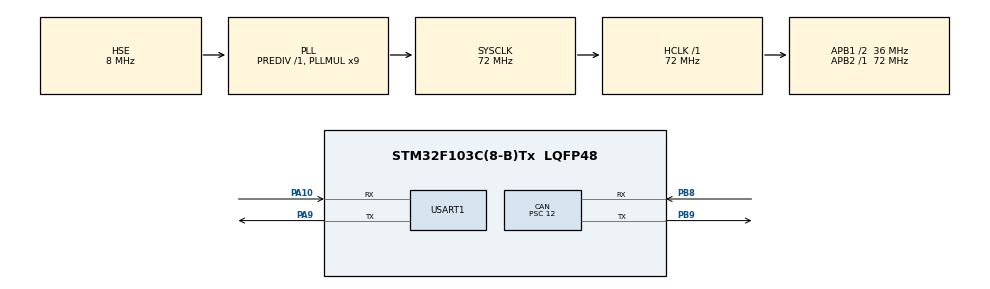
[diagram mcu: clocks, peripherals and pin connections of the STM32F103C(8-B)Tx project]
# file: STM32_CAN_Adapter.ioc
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CAN.BS1=CAN_BS1_2TQ
CAN.BS2=CAN_BS2_3TQ
CAN.CalculateTimeBit=2000
CAN.CalculateTimeQuantum=333.33333333333337
CAN.Prescaler=12
Mcu.Family=STM32F1
Mcu.Name=STM32F103C(8-B)Tx
Mcu.Package=LQFP48
NVIC.PriorityGroup=NVIC_PRIORITYGROUP_4
NVIC.USART1_IRQn=true\:0\:0\:false\:false\:true\:true\:false\:false
PA10.Mode=Asynchronous
PA10.Signal=USART1_RX
PA13.Mode=Serial_Wire
PA13.Signal=SYS_JTMS-SWDIO
PA14.Mode=Serial_Wire
PA14.Signal=SYS_JTCK-SWCLK
PA9.Mode=Asynchronous
PA9.Signal=USART1_TX
PB8.Mode=Master
PB8.Signal=CAN_RX
PB9.Mode=Master
PB9.Signal=CAN_TX
PD0-OSC_IN.Mode=HSE-External-Oscillator
PD0-OSC_IN.Signal=RCC_OSC_IN
PD1-OSC_OUT.Mode=HSE-External-Oscillator
PD1-OSC_OUT.Signal=RCC_OSC_OUT
ProjectManager.HeapSize=0x200
ProjectManager.StackSize=0x400
ProjectManager.TargetToolchain=STM32CubeIDE
RCC.ADCPRE=RCC_ADCPRE_PCLK2_DIV6
RCC.ADCPRE_Value=12
RCC.AHBFreq_Value=72000000
RCC.APB1CLKDivider=RCC_HCLK_DIV2
RCC.APB1Freq_Value=36000000
RCC.APB1TimFreq_Value=72000000
RCC.APB2CLKDivider=RCC_HCLK_DIV1
RCC.APB2Freq_Value=72000000
RCC.APB2TimFreq_Value=72000000
RCC.HCLKFreq_Value=72000000
RCC.PLLMUL=RCC_PLL_MUL9
RCC.PLLMUL_Value=72000000
RCC.PLLSourceVirtual=RCC_PLLSOURCE_HSE
RCC.SYSCLKFreq_VALUE=72000000
RCC.SYSCLKSource=RCC_SYSCLKSOURCE_PLLCLK
RCC.USBFreq_Value=72000000
USART1.VirtualMode=VM_ASYNC
USART1.VirtualMode-Asynchronous=VM_ASYNCHRONOUS
board=custom

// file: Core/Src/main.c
/* USER CODE BEGIN Header */
/**
  ******************************************************************************
  * @file           : main.c
  * @brief          : STM32_CAN_Adapter – CAN ↔ UART1 bidirectional bridge
  *
  * CAN → UART1 : Every received CAN frame is printed as:
  *                 "RX ID:0x<ID> DLC:<N> DATA:<HEX>\r\n"
  *
  * UART1 → CAN : Commands received as ASCII lines:
  *                 "TX:0x<ID>:<DLC>:<HEX_DATA>\r\n"
  *               are parsed and transmitted on the CAN bus.
  *
  * Hardware (BluePill STM32F103C8Tx):
  *   PA9  – USART1 TX   PA10 – USART1 RX
  *   PB8  – CAN RX      PB9  – CAN TX   (remap 2)
  *   PB0  – LED RX (blink on CAN recv)  PB1 – LED TX (blink on CAN send)
  *   PD0  – HSE IN      PD1  – HSE OUT
  *   PA13 – SWD IO      PA14 – SWD CLK
  *
  * CAN:  500 kbps  (APB1=36MHz, Prescaler=12, BS1=2TQ, BS2=3TQ, SJW=1TQ)
  * UART: 115200 8N1
  ******************************************************************************
  */
/* USER CODE END Header */
#include "main.h"

/* USER CODE BEGIN Includes */
#include <stdio.h>
#include <string.h>
#include <stdarg.h>
/* USER CODE END Includes */

/* USER CODE BEGIN PD */
#define UART_TX_BUF_SIZE   128
#define CMD_BUF_SIZE        64
/* USER CODE END PD */

CAN_HandleTypeDef hcan;

UART_HandleTypeDef huart1;

/* USER CODE BEGIN PV */

/* ---- CAN RX ---- */
static CAN_RxHeaderTypeDef RxHeader;
static uint8_t             RxData[8];

/* ---- CAN TX ---- */
static CAN_TxHeaderTypeDef TxHeader;
static uint8_t             TxData[8];
static uint32_t            TxMailbox;

/* ---- CAN filter (accept all) ---- */
static CAN_FilterTypeDef   CanFilter;

/* ---- UART RX (interrupt-driven, byte-by-byte) ---- */
static uint8_t  uart_rx_byte;
static char     cmd_buf[CMD_BUF_SIZE];
static uint8_t  cmd_idx = 0;

/* ---- LED blink (tick-based, ISR-safe) ---- */
#define LED_RX_PIN   GPIO_PIN_0   /* PB0 – blinks on CAN RX */
#define LED_TX_PIN   GPIO_PIN_1   /* PB1 – blinks on CAN TX */
#define LED_PORT     GPIOB
#define LED_BLINK_MS 15           /* blink duration in milliseconds */

static volatile uint32_t led_rx_off_tick = 0; /* tick when PB0 should turn off */
static volatile uint32_t led_tx_off_tick = 0; /* tick when PB1 should turn off */

/* USER CODE END PV */

void SystemClock_Config(void);
static void MX_GPIO_Init(void);
static void MX_USART1_UART_Init(void);
static void MX_CAN_Init(void);
/* USER CODE BEGIN PFP */
static void UART_Printf(const char *fmt, ...);
static void CAN_ConfigFilter(void);
static void Process_Command(char *cmd);
/* USER CODE END PFP */

/* USER CODE BEGIN 0 */

/**
 * @brief  Printf over UART1 (blocking, for small strings).
 */
static void UART_Printf(const char *fmt, ...)
{
    va_list args;
    va_start(args, fmt);
    char buf[UART_TX_BUF_SIZE];
    int len = vsnprintf(buf, sizeof(buf), fmt, args);
    va_end(args);
    if (len > 0)
    {
        HAL_UART_Transmit(&huart1, (uint8_t *)buf, (uint16_t)len, HAL_MAX_DELAY);
    }
}

/**
 * @brief  Configure CAN filter to accept all frames into FIFO0.
 */
static void CAN_ConfigFilter(void)
{
    CanFilter.FilterBank           = 0;
    CanFilter.FilterMode           = CAN_FILTERMODE_IDMASK;
    CanFilter.FilterScale          = CAN_FILTERSCALE_32BIT;
    CanFilter.FilterIdHigh         = 0x0000;
    CanFilter.FilterIdLow          = 0x0000;
    CanFilter.FilterMaskIdHigh     = 0x0000;
    CanFilter.FilterMaskIdLow      = 0x0000;
    CanFilter.FilterFIFOAssignment = CAN_RX_FIFO0;
    CanFilter.FilterActivation     = ENABLE;
    CanFilter.SlaveStartFilterBank = 14;

    if (HAL_CAN_ConfigFilter(&hcan, &CanFilter) != HAL_OK)
    {
        Error_Handler();
    }
}

/**
 * @brief  CAN RX FIFO0 message pending callback.
 *         Called from USB_LP_CAN1_RX0_IRQHandler via HAL.
 *         Forwards each received frame to UART1 as ASCII.
 *
 * Output format:
 *   "RX ID:0x123 DLC:8 DATA:0102030405060708\r\n"
 */
void HAL_CAN_RxFifo0MsgPendingCallback(CAN_HandleTypeDef *hcan_p)
{
    if (HAL_CAN_GetRxMessage(hcan_p, CAN_RX_FIFO0, &RxHeader, RxData) == HAL_OK)
    {
        /* Blink RX LED (PB0) – set pin high; main loop will clear it */
        HAL_GPIO_WritePin(LED_PORT, LED_RX_PIN, GPIO_PIN_SET);
        led_rx_off_tick = HAL_GetTick() + LED_BLINK_MS;

        /* Choose format based on frame type */
        if (RxHeader.IDE == CAN_ID_STD)
        {
            UART_Printf("RX ID:0x%03lX DLC:%lu DATA:", RxHeader.StdId, RxHeader.DLC);
        }
        else
        {
            UART_Printf("RX ID:0x%08lX DLC:%lu DATA:", RxHeader.ExtId, RxHeader.DLC);
        }

        for (uint8_t i = 0; i < RxHeader.DLC; i++)
        {
            UART_Printf("%02X", RxData[i]);
        }
        UART_Printf("\r\n");
    }
}

/**
 * @brief  UART RX complete callback (1 byte at a time).
 *         Accumulates bytes into cmd_buf until CR or LF, then
 *         dispatches to Process_Command().
 */
void HAL_UART_RxCpltCallback(UART_HandleTypeDef *huart)
{
    if (huart->Instance == USART1)
    {
        if (uart_rx_byte == '\n' || uart_rx_byte == '\r')
        {
            cmd_buf[cmd_idx] = '\0';
            if (cmd_idx > 0)
            {
                Process_Command(cmd_buf);
            }
            cmd_idx = 0;
        }
        else
        {
            if (cmd_idx < (CMD_BUF_SIZE - 1))
            {
                cmd_buf[cmd_idx++] = (char)uart_rx_byte;
            }
        }
        /* Re-arm receive interrupt */
        HAL_UART_Receive_IT(&huart1, &uart_rx_byte, 1);
    }
}

/**
 * @brief  Parse and execute a UART command.
 *
 * Accepted formats:
 *   TX:0x<ID>:<DLC>:<HEXDATA>   – transmit standard CAN frame
 *   TX:0x<ID>:E:<DLC>:<HEXDATA> – transmit extended CAN frame
 *
 * Examples:
 *   TX:0x123:8:0102030405060708
 *   TX:0x12345678:E:4:DEADBEEF
 */
static void Process_Command(char *cmd)
{
    uint32_t   id;
    uint32_t   dlc;
    char       data_str[17];  /* max 8 bytes = 16 hex chars + NUL */
    char       ext_flag;

    /* ----- Extended frame: TX:0x<ID>:E:<DLC>:<HEX> ----- */
    if (sscanf(cmd, "TX:0x%lX:E:%lu:%16s", &id, &dlc, data_str) == 3)
    {
        TxHeader.ExtId              = id;
        TxHeader.IDE                = CAN_ID_EXT;
        TxHeader.RTR                = CAN_RTR_DATA;
        TxHeader.DLC                = (dlc > 8) ? 8 : dlc;
        TxHeader.TransmitGlobalTime = DISABLE;
    }
    /* ----- Standard frame: TX:0x<ID>:<DLC>:<HEX> ----- */
    else if (sscanf(cmd, "TX:0x%lX:%lu:%16s", &id, &dlc, data_str) == 3)
    {
        TxHeader.StdId              = id & 0x7FF;
        TxHeader.IDE                = CAN_ID_STD;
        TxHeader.RTR                = CAN_RTR_DATA;
        TxHeader.DLC                = (dlc > 8) ? 8 : dlc;
        TxHeader.TransmitGlobalTime = DISABLE;
    }
    else
    {
        UART_Printf("ERR:BAD_CMD\r\n");
        return;
    }

    /* Parse hex data bytes */
    for (uint8_t i = 0; i < TxHeader.DLC; i++)
    {
        unsigned int val = 0;
        if (sscanf(&data_str[i * 2], "%02X", &val) != 1)
        {
            UART_Printf("ERR:BAD_DATA\r\n");
            return;
        }
        TxData[i] = (uint8_t)val;
    }

    if (HAL_CAN_AddTxMessage(&hcan, &TxHeader, TxData, &TxMailbox) != HAL_OK)
    {
        UART_Printf("ERR:TX_FAIL\r\n");
    }
    else
    {
        /* Blink TX LED (PB1) on successful transmit */
        HAL_GPIO_WritePin(LED_PORT, LED_TX_PIN, GPIO_PIN_SET);
        led_tx_off_tick = HAL_GetTick() + LED_BLINK_MS;
    }
}

/* USER CODE END 0 */

int main(void)
{

  /* MCU Configuration--------------------------------------------------------*/

  /* Reset of all peripherals, Initializes the Flash interface and the Systick. */
  HAL_Init();

  /* Configure the system clock */
  SystemClock_Config();

  /* Initialize all configured peripherals */
  MX_GPIO_Init();
  MX_USART1_UART_Init();
  MX_CAN_Init();
  /* USER CODE BEGIN 2 */

  /* Configure CAN acceptance filter (accept all frames) */
  CAN_ConfigFilter();

  /* Start CAN bus */
  if (HAL_CAN_Start(&hcan) != HAL_OK)
  {
      Error_Handler();
  }

  /* Enable CAN RX FIFO0 notification interrupt */
  if (HAL_CAN_ActivateNotification(&hcan, CAN_IT_RX_FIFO0_MSG_PENDING) != HAL_OK)
  {
      Error_Handler();
  }

  /* Start UART receive interrupt (1 byte at a time) */
  HAL_UART_Receive_IT(&huart1, &uart_rx_byte, 1);

  /* Ready banner */
  UART_Printf("STM32_CAN_Adapter ready. CAN 500kbps, UART 115200 8N1\r\n");
  UART_Printf("TX format:  TX:0x<ID>:<DLC>:<HEX>  (std)\r\n");
  UART_Printf("            TX:0x<ID>:E:<DLC>:<HEX> (ext)\r\n");

  /* USER CODE END 2 */

  /* Infinite loop */
  while (1)
  {

    /* USER CODE BEGIN 3 */

    /* ---- LED blink timeout ---- */
    uint32_t now = HAL_GetTick();
    if (led_rx_off_tick && now >= led_rx_off_tick)
    {
        HAL_GPIO_WritePin(LED_PORT, LED_RX_PIN, GPIO_PIN_RESET);
        led_rx_off_tick = 0;
    }
    if (led_tx_off_tick && now >= led_tx_off_tick)
    {
        HAL_GPIO_WritePin(LED_PORT, LED_TX_PIN, GPIO_PIN_RESET);
        led_tx_off_tick = 0;
    }
  }
  /* USER CODE END 3 */
}

void SystemClock_Config(void)
{
  RCC_OscInitTypeDef RCC_OscInitStruct = {0};
  RCC_ClkInitTypeDef RCC_ClkInitStruct = {0};

  /** Initializes the RCC Oscillators according to the specified parameters
  * in the RCC_OscInitTypeDef structure.
  */
  RCC_OscInitStruct.OscillatorType = RCC_OSCILLATORTYPE_HSE;
  RCC_OscInitStruct.HSEState = RCC_HSE_ON;
  RCC_OscInitStruct.HSEPredivValue = RCC_HSE_PREDIV_DIV1;
  RCC_OscInitStruct.HSIState = RCC_HSI_ON;
  RCC_OscInitStruct.PLL.PLLState = RCC_PLL_ON;
  RCC_OscInitStruct.PLL.PLLSource = RCC_PLLSOURCE_HSE;
  RCC_OscInitStruct.PLL.PLLMUL = RCC_PLL_MUL9;
  if (HAL_RCC_OscConfig(&RCC_OscInitStruct) != HAL_OK)
  {
    Error_Handler();
  }
  /** Initializes the CPU, AHB and APB buses clocks
  */
  RCC_ClkInitStruct.ClockType = RCC_CLOCKTYPE_HCLK|RCC_CLOCKTYPE_SYSCLK
                              |RCC_CLOCKTYPE_PCLK1|RCC_CLOCKTYPE_PCLK2;
  RCC_ClkInitStruct.SYSCLKSource = RCC_SYSCLKSOURCE_PLLCLK;
  RCC_ClkInitStruct.AHBCLKDivider = RCC_SYSCLK_DIV1;
  RCC_ClkInitStruct.APB1CLKDivider = RCC_HCLK_DIV2;
  RCC_ClkInitStruct.APB2CLKDivider = RCC_HCLK_DIV1;

  if (HAL_RCC_ClockConfig(&RCC_ClkInitStruct, FLASH_LATENCY_2) != HAL_OK)
  {
    Error_Handler();
  }
}

static void MX_CAN_Init(void)
{

  hcan.Instance = CAN1;
  hcan.Init.Prescaler = 12;
  hcan.Init.Mode = CAN_MODE_NORMAL;
  hcan.Init.SyncJumpWidth = CAN_SJW_1TQ;
  hcan.Init.TimeSeg1 = CAN_BS1_2TQ;
  hcan.Init.TimeSeg2 = CAN_BS2_3TQ;
  hcan.Init.TimeTriggeredMode = DISABLE;
  hcan.Init.AutoBusOff = DISABLE;
  hcan.Init.AutoWakeUp = DISABLE;
  hcan.Init.AutoRetransmission = DISABLE;
  hcan.Init.ReceiveFifoLocked = DISABLE;
  hcan.Init.TransmitFifoPriority = DISABLE;
  if (HAL_CAN_Init(&hcan) != HAL_OK)
  {
    Error_Handler();
  }

}

static void MX_USART1_UART_Init(void)
{

  huart1.Instance = USART1;
  huart1.Init.BaudRate = 115200;
  huart1.Init.WordLength = UART_WORDLENGTH_8B;
  huart1.Init.StopBits = UART_STOPBITS_1;
  huart1.Init.Parity = UART_PARITY_NONE;
  huart1.Init.Mode = UART_MODE_TX_RX;
  huart1.Init.HwFlowCtl = UART_HWCONTROL_NONE;
  huart1.Init.OverSampling = UART_OVERSAMPLING_16;
  if (HAL_UART_Init(&huart1) != HAL_OK)
  {
    Error_Handler();
  }

}

static void MX_GPIO_Init(void)
{
  GPIO_InitTypeDef GPIO_InitStruct = {0};

  /* GPIO Ports Clock Enable */
  __HAL_RCC_GPIOD_CLK_ENABLE();
  __HAL_RCC_GPIOA_CLK_ENABLE();
  __HAL_RCC_GPIOB_CLK_ENABLE();

  /* Configure PB0 (LED RX) and PB1 (LED TX) as push-pull outputs, initially low */
  HAL_GPIO_WritePin(LED_PORT, LED_RX_PIN | LED_TX_PIN, GPIO_PIN_RESET);

  GPIO_InitStruct.Pin   = LED_RX_PIN | LED_TX_PIN;
  GPIO_InitStruct.Mode  = GPIO_MODE_OUTPUT_PP;
  GPIO_InitStruct.Pull  = GPIO_NOPULL;
  GPIO_InitStruct.Speed = GPIO_SPEED_FREQ_LOW;
  HAL_GPIO_Init(LED_PORT, &GPIO_InitStruct);

}

void Error_Handler(void)
{
  __disable_irq();
  while (1)
  {
  }
}

#ifdef  USE_FULL_ASSERT
/**
  * @brief  Reports the name of the source file and the source line number
  *         where the assert_param error has occurred.
  * @param  file: pointer to the source file name
  * @param  line: assert_param error line source number
  * @retval None
  */
void assert_failed(uint8_t *file, uint32_t line)
{
  /* USER CODE BEGIN 6 */
  (void)file;
  (void)line;
  /* USER CODE END 6 */
}
#endif /* USE_FULL_ASSERT */

/************************ (C) COPYRIGHT STMicroelectronics *****END OF FILE****/
